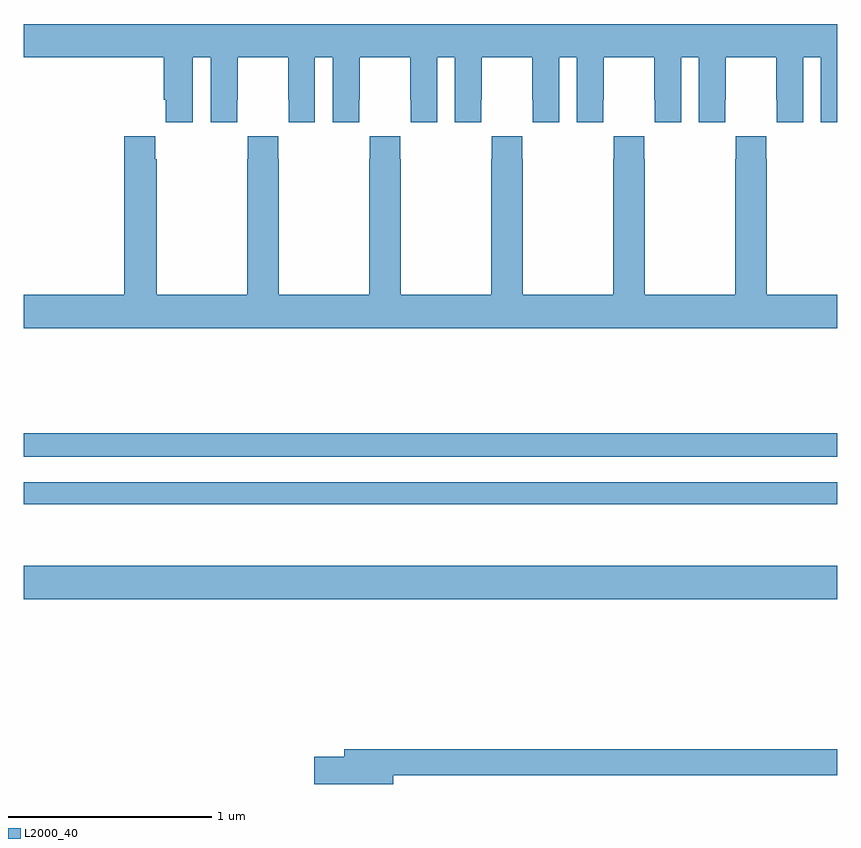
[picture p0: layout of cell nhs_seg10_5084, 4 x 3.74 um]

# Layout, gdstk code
import gdstk
lib = gdstk.Library(unit=1e-6, precision=1e-09)
def R(c, l, rs):  # rectangles x0, y0, x1, y1
    for r in rs: c.add(gdstk.rectangle(r[:2], r[2:], *l))
def P(c, l, *ps):  # polygons
    for p in ps: c.add(gdstk.Polygon(p, *l))
L2000_40 = (2000, 40)

nhs_seg10_5084 = lib.new_cell('nhs_seg10_5084')
R(nhs_seg10_5084, L2000_40, [(405,1317.632,409,1317.796), (405,1318.098,409,1318.206), (405,1318.332,409,1318.448)])
P(nhs_seg10_5084, L2000_40, [(405.832,1320.296),(405.92,1320.296),(405.92,1319.976),(406.05,1319.976),(406.05,1320.088),(406.051,1320.088),(406.051,1320.296),(406.301,1320.296),(406.301,1320.088),(406.302,1320.088),(406.302,1319.976),(406.432,1319.976),(406.432,1320.296),(406.52,1320.296),(406.52,1319.976),(406.65,1319.976),(406.65,1320.088),(406.651,1320.088),(406.651,1320.296),(406.901,1320.296),(406.901,1320.088),(406.902,1320.088),(406.902,1319.976),(407.032,1319.976),(407.032,1320.296),(407.12,1320.296),(407.12,1319.976),(407.25,1319.976),(407.25,1320.088),(407.251,1320.088),(407.251,1320.296),(407.501,1320.296),(407.501,1320.088),(407.502,1320.088),(407.502,1319.976),(407.632,1319.976),(407.632,1320.296),(407.72,1320.296),(407.72,1319.976),(407.85,1319.976),(407.85,1320.088),(407.851,1320.088),(407.851,1320.296),(408.101,1320.296),(408.101,1320.088),(408.102,1320.088),(408.102,1319.976),(408.232,1319.976),(408.232,1320.296),(408.32,1320.296),(408.32,1319.976),(408.45,1319.976),(408.45,1320.088),(408.451,1320.088),(408.451,1320.296),(408.701,1320.296),(408.701,1320.088),(408.702,1320.088),(408.702,1319.976),(408.832,1319.976),(408.832,1320.296),(408.92,1320.296),(408.92,1319.976),(409,1319.976),(409,1320.46),(405,1320.46),(405,1320.296),(405.689,1320.296),(405.689,1320.088),(405.698,1320.088),(405.698,1319.976),(405.832,1319.976)],
  [(409,1319.128),(408.654,1319.128),(408.654,1319.795),(408.651,1319.795),(408.651,1319.908),(408.501,1319.908),(408.501,1319.795),(408.499,1319.795),(408.499,1319.128),(408.054,1319.128),(408.054,1319.795),(408.051,1319.795),(408.051,1319.908),(407.901,1319.908),(407.901,1319.795),(407.899,1319.795),(407.899,1319.128),(407.454,1319.128),(407.454,1319.795),(407.451,1319.795),(407.451,1319.908),(407.301,1319.908),(407.301,1319.795),(407.299,1319.795),(407.299,1319.128),(406.854,1319.128),(406.854,1319.795),(406.851,1319.795),(406.851,1319.908),(406.701,1319.908),(406.701,1319.795),(406.699,1319.795),(406.699,1319.128),(406.254,1319.128),(406.254,1319.795),(406.251,1319.795),(406.251,1319.908),(406.101,1319.908),(406.101,1319.795),(406.099,1319.795),(406.099,1319.128),(405.654,1319.128),(405.654,1319.795),(405.647,1319.795),(405.647,1319.908),(405.494,1319.908),(405.494,1319.128),(405,1319.128),(405,1318.964),(409,1318.964)],
  [(406.816,1316.766),(409,1316.766),(409,1316.894),(406.577,1316.894),(406.577,1316.858),(406.428,1316.858),(406.428,1316.723),(406.816,1316.723)])

lib.write_gds('nhs_seg10_5084.gds')
